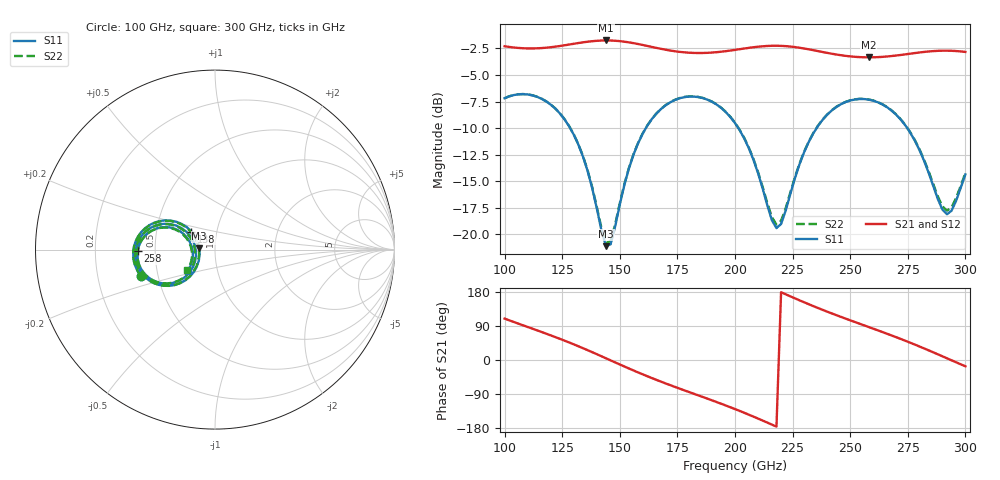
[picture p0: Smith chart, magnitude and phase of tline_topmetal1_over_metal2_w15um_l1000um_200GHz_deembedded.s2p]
! Created with skrf 2.2.0 (http://scikit-rf.org).
# GHz S DB R 50.0
! Port[1] = P1
! Port[2] = P2
!freq dBS11 angS11 dBS21 angS21 dBS12 angS12 dBS22 angS22
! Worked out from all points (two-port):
!   101 points, 100 GHz to 300 GHz, reference 50 ohm
!   highest |S21| = -1.75 dB at 144 GHz (marker M1); lowest = -3.3 dB at 258 GHz (marker M2)
!   |S21| within 3 dB of the highest: start of sweep to end of sweep
!   lowest |S11| = -21.1 dB at 144 GHz (marker M3), VSWR 1.19, Z = 41.9 + j0.649 ohm
!   |S11| at or under -10 dB: 128.4 GHz to 161.3 GHz (32.88 GHz wide, 22.7 % of centre); 201.4 GHz to 235.4 GHz (33.99 GHz wide, 15.6 % of centre); 274.7 GHz to end of sweep
!   |S22| runs from -20.8 to -6.8 dB; largest |S21 - S12| = 8.9e-14
!   S11 on the Smith chart (normalised r, x): 100 GHz: 0.40, -0.15; 138 GHz: 0.75, +0.16; 258 GHz: 0.40, -0.01; 300 GHz: 0.72, -0.17
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100  -7.19 -160.3  -2.29 109.2  -2.29 109.2  -7.18 -160.1
108  -6.80 -175.1  -2.48 91.5  -2.48 91.5  -6.79 -174.9
118  -7.48 166.7  -2.43 69.6  -2.43 69.6  -7.47 167.1
126  -9.17 152.9  -2.21 51.1  -2.21 51.1  -9.15 153.4
134  -12.67 142.3  -1.93 31.2  -1.93 31.2  -12.62 143.1
138  -15.63 142.5  -1.82 20.7  -1.82 20.7  -15.54 143.5
144  -21.11 175.0  -1.75 4.5  -1.75 4.5  -20.80 175.5
146  -20.93 -162.4  -1.76 -0.9  -1.76 -0.9  -20.64 -162.9
156  -12.47 -134.0  -2.01 -27.7  -2.01 -27.7  -12.43 -134.4
168  -8.18 -151.6  -2.55 -57.4  -2.55 -57.4  -8.17 -151.7
184  -7.08 -179.3  -2.93 -93.2  -2.93 -93.2  -7.06 -179.1
200  -9.52 154.9  -2.64 -129.5  -2.64 -129.5  -9.49 155.5
210  -14.24 147.8  -2.34 -154.6  -2.34 -154.6  -14.13 148.8
218  -19.41 -177.9  -2.25 -175.8  -2.25 -175.8  -19.08 -177.7
226  -14.72 -138.5  -2.37 162.8  -2.37 162.8  -14.62 -139.4
234  -10.49 -141.6  -2.67 142.2  -2.67 142.2  -10.46 -142.1
246  -7.75 -159.4  -3.14 113.7  -3.14 113.7  -7.73 -159.5
258  -7.32 -178.8  -3.34 87.1  -3.34 87.1  -7.30 -178.7
268  -8.36 165.7  -3.22 64.7  -3.22 64.7  -8.33 166.1
280  -12.03 152.5  -2.88 35.8  -2.88 35.8  -11.96 153.3
292  -18.11 -175.2  -2.71 4.5  -2.71 4.5  -17.77 -175.1
300  -14.36 -142.4  -2.83 -16.6  -2.83 -16.6  -14.22 -143.4
